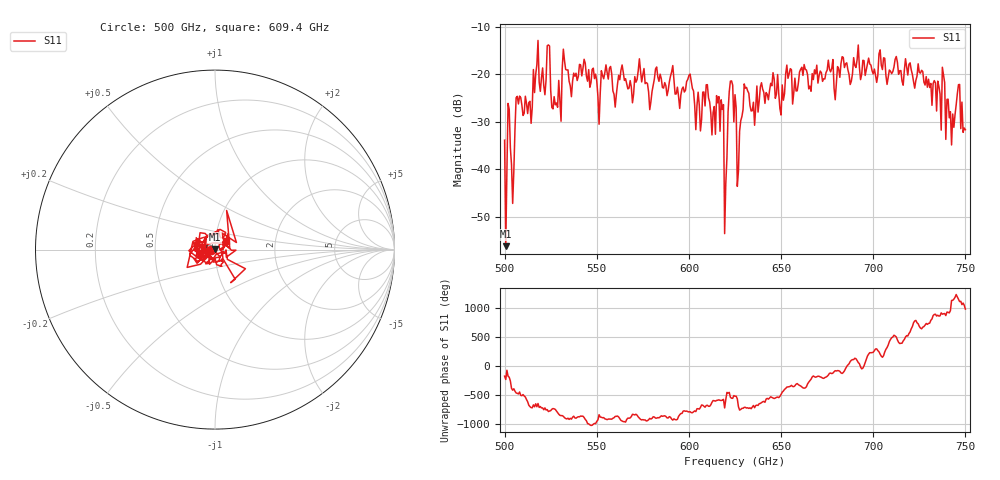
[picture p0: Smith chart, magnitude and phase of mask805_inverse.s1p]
!Created with skrf (http://scikit-rf.org).
# GHz S MA R 50.0
!freq magS11 angS11
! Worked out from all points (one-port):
!   401 points, 500 GHz to 750 GHz, reference 50 ohm
!   lowest |S11| = -56.2 dB at 500.6 GHz (marker M1), VSWR 1.00, Z = 49.9 + j0.121 ohm
!   |S11| at or under -10 dB: start of sweep to end of sweep
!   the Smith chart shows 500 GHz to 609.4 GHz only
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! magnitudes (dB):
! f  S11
! 500 GHz  -33.9
! 500.6 GHz  -56.2
! 502.5 GHz  -27.4
! 504.4 GHz  -47.2
! 507.5 GHz  -26.2
! 513.8 GHz  -25.7
! 516.9 GHz  -20.0
! 523.8 GHz  -13.8
! 526.9 GHz  -24.7
! 531.2 GHz  -18.8
! 562.5 GHz  -21.1
! 593.8 GHz  -22.7
! 600 GHz  -20.3
! 616.2 GHz  -24.7
! 619.4 GHz  -53.5
! 620.6 GHz  -37.6
! 622.5 GHz  -21.4
! 625 GHz  -24.3
! 627.5 GHz  -32.0
! 631.2 GHz  -22.8
! 635 GHz  -25.9
! 656.2 GHz  -26.3
! 687.5 GHz  -22.1
! 718.8 GHz  -20.2
! 738.8 GHz  -21.7
! 742.5 GHz  -34.9
! 746.9 GHz  -22.1
! 750 GHz  -31.7
